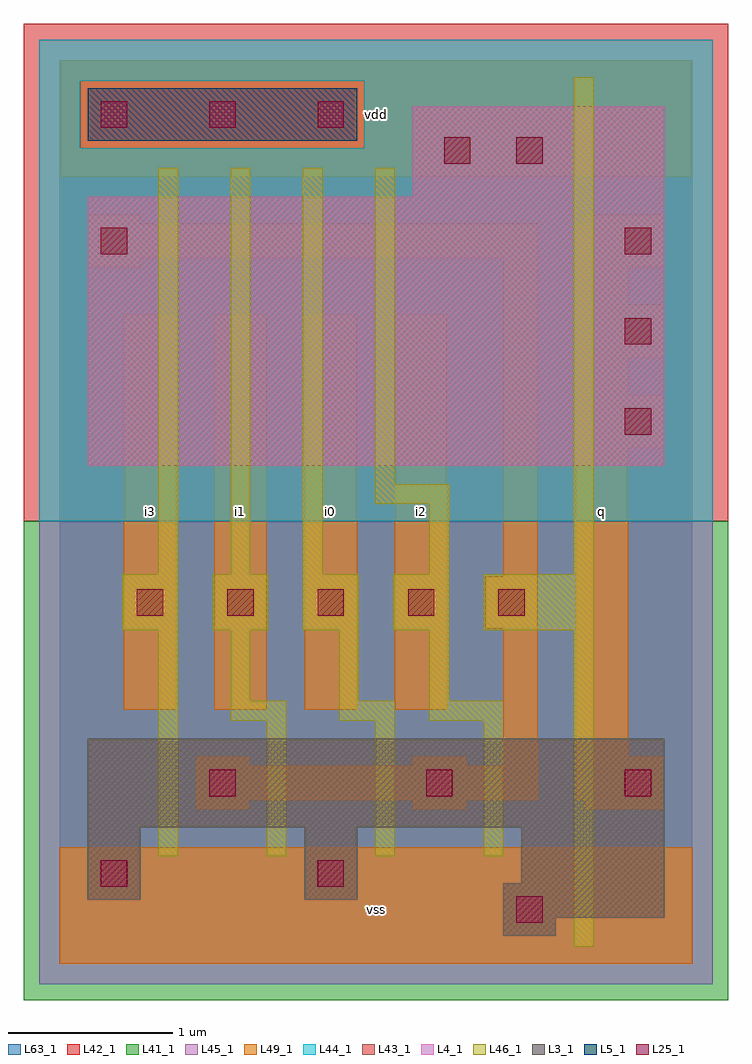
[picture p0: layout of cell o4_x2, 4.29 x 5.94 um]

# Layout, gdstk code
import gdstk
lib = gdstk.Library(unit=1e-6, precision=1e-09)
def R(c, l, rs):  # rectangles x0, y0, x1, y1
    for r in rs: c.add(gdstk.rectangle(r[:2], r[2:], *l))
def A(c, l, x, y, w, h, nx, ny, dx, dy):  # array of equal rectangles
    R(c, l, [(x+i*dx, y+j*dy, x+i*dx+w, y+j*dy+h) for i in range(nx) for j in range(ny)])
L3_1 = (3, 1)
L4_1 = (4, 1)
L5_1 = (5, 1)
L25_1 = (25, 1)
L41_1 = (41, 1)
L42_1 = (42, 1)
L43_1 = (43, 1)
L44_1 = (44, 1)
L45_1 = (45, 1)
L46_1 = (46, 1)
L49_1 = (49, 1)
L63_1 = (63, 1)

o4_x2 = lib.new_cell('o4_x2')
R(o4_x2, L3_1, [(2.7,0.17,3.02,0.28), (2.7,0.28,3.68,0.49), (0.17,0.39,0.49,0.83), (1.49,0.39,1.81,0.83), (2.81,0.49,3.68,0.83), (0.17,0.83,3.68,1.37)])
R(o4_x2, L4_1, [(0.17,3.03,3.68,4.67), (2.15,4.67,3.68,5.22)])
R(o4_x2, L5_1, [(0.17,5.01,1.81,5.33)])
A(o4_x2, L25_1, 0.47, 2.12, 0.16, 0.16, 5, 1, 0.55, 0)
A(o4_x2, L25_1, 3.44, 3.22, 0.16, 0.16, 1, 3, 0, 0.55)
A(o4_x2, L25_1, 0.25, 5.09, 0.16, 0.16, 3, 1, 0.66, 0)
R(o4_x2, L25_1, [(2.78,0.25,2.94,0.41), (0.25,0.47,0.41,0.63), (1.57,0.47,1.73,0.63), (0.91,1.02,1.07,1.18), (2.23,1.02,2.39,1.18), (3.44,1.02,3.6,1.18), (0.25,4.32,0.41,4.48), (2.34,4.87,2.5,5.03), (2.78,4.87,2.94,5.03)])
R(o4_x2, L41_1, [(-0.22,-0.22,4.07,2.695)])
R(o4_x2, L42_1, [(-0.22,2.695,4.07,5.72)])
R(o4_x2, L43_1, [(2.7,0.17,3.02,0.28), (2.7,0.28,3.68,0.49), (0.17,0.39,0.49,0.83), (1.49,0.39,1.81,0.83), (2.81,0.49,3.68,0.83), (0.17,0.83,3.68,1.37), (0.17,3.03,3.68,4.67), (2.15,4.67,3.68,5.22), (0.17,5.01,1.81,5.33)])
R(o4_x2, L44_1, [(-0.125,2.695,3.975,4.965), (-0.125,4.965,0.125,5.375), (1.855,4.965,3.975,5.375), (-0.125,5.375,3.975,5.625)])
R(o4_x2, L45_1, [(-0.125,-0.125,3.975,2.695), (0.125,4.965,1.855,5.375)])
A(o4_x2, L46_1, 1.26, 0.655, 0.12, 0.825, 3, 1, 0.66, 0)
A(o4_x2, L46_1, 0.38, 2.03, 0.34, 0.34, 4, 1, 0.55, 0)
A(o4_x2, L46_1, 0.6, 2.37, 0.12, 2.475, 3, 1, 0.44, 0)
R(o4_x2, L46_1, [(3.13,0.105,3.25,2.03), (0.6,0.655,0.72,2.03), (1.04,1.48,1.38,1.6), (1.7,1.48,2.04,1.6), (2.25,1.48,2.7,1.6), (1.04,1.6,1.16,2.03), (1.7,1.6,1.82,2.03), (2.25,1.6,2.37,2.03), (2.58,2.03,3.25,2.37), (2.25,2.37,2.37,2.8), (3.13,2.37,3.25,5.395), (1.92,2.8,2.37,2.92), (1.92,2.92,2.04,4.845)])
A(o4_x2, L49_1, 0.39, 1.545, 0.32, 2.41, 4, 1, 0.55, 0)
R(o4_x2, L49_1, [(0,0,3.85,0.71), (0.83,0.94,1.15,0.995), (2.15,0.94,2.47,0.995), (3.195,0.94,3.68,0.995), (0.83,0.995,2.91,1.205), (3.14,0.995,3.68,1.26), (0.83,1.205,1.15,1.26), (2.15,1.205,2.47,1.26), (2.7,1.205,2.91,2.04), (3.14,1.26,3.46,3.14), (2.59,2.04,2.91,2.36), (2.7,2.36,2.91,4.295), (3.14,3.14,3.68,3.46), (3.14,3.46,3.46,3.69), (3.14,3.69,3.68,4.01), (3.14,4.01,3.46,4.24), (0.17,4.24,0.49,4.295), (3.14,4.24,3.68,4.505), (0.17,4.295,2.91,4.505), (0.17,4.505,0.49,4.56), (3.195,4.505,3.68,4.56), (0,4.79,3.85,5.5)])
R(o4_x2, L63_1, [(0,0,3.85,5.5)])
o4_x2.add(gdstk.Label('i3', (0.55,2.75), layer=49, texttype=1))
o4_x2.add(gdstk.Label('i3', (0.55,2.75), layer=49, texttype=1))
o4_x2.add(gdstk.Label('i0', (1.65,2.75), layer=49, texttype=1))
o4_x2.add(gdstk.Label('i1', (1.1,2.75), layer=49, texttype=1))
o4_x2.add(gdstk.Label('i1', (1.1,2.75), layer=49, texttype=1))
o4_x2.add(gdstk.Label('i0', (1.65,2.75), layer=49, texttype=1))
o4_x2.add(gdstk.Label('vss', (1.925,0.33), layer=49, texttype=1))
o4_x2.add(gdstk.Label('vss', (1.925,0.33), layer=49, texttype=1))
o4_x2.add(gdstk.Label('i2', (2.2,2.75), layer=49, texttype=1))
o4_x2.add(gdstk.Label('i2', (2.2,2.75), layer=49, texttype=1))
o4_x2.add(gdstk.Label('vdd', (1.925,5.17), layer=49, texttype=1))
o4_x2.add(gdstk.Label('vdd', (1.925,5.17), layer=49, texttype=1))
o4_x2.add(gdstk.Label('q', (3.3,2.75), layer=49, texttype=1))
o4_x2.add(gdstk.Label('q', (3.3,2.75), layer=49, texttype=1))

lib.write_gds('o4_x2.gds')
